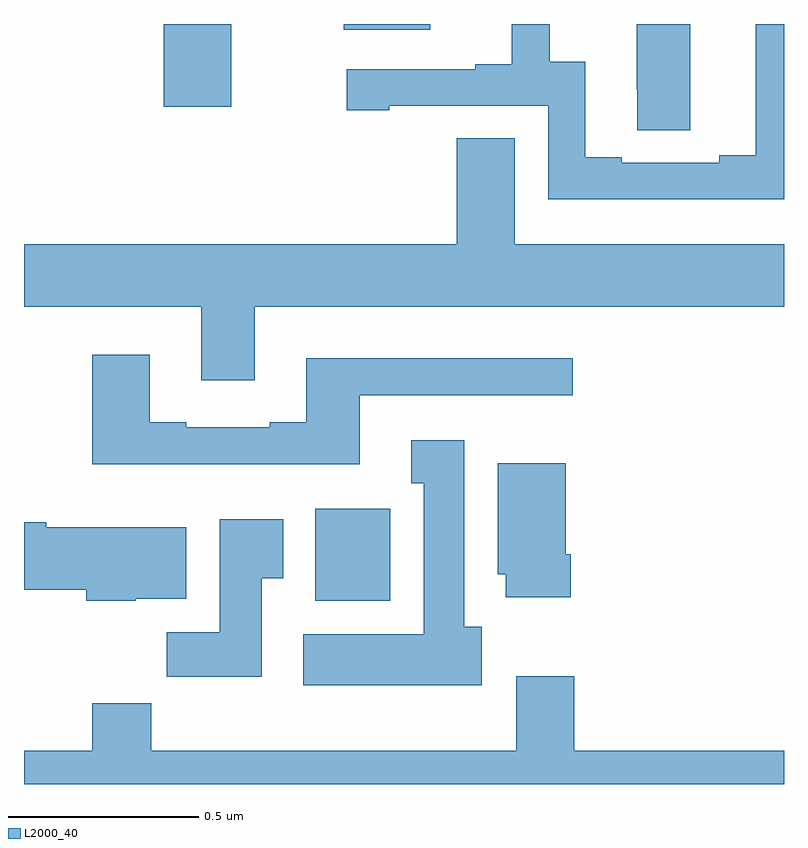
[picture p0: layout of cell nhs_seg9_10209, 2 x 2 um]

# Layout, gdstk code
import gdstk
lib = gdstk.Library(unit=1e-6, precision=1e-09)
def R(c, l, rs):  # rectangles x0, y0, x1, y1
    for r in rs: c.add(gdstk.rectangle(r[:2], r[2:], *l))
def P(c, l, *ps):  # polygons
    for p in ps: c.add(gdstk.Polygon(p, *l))
L2000_40 = (2000, 40)

nhs_seg9_10209 = lib.new_cell('nhs_seg9_10209')
R(nhs_seg9_10209, L2000_40, [(240.767,1192.982,240.964,1193.224), (240.368,1194.282,240.546,1194.5), (240.842,1194.485,241.069,1194.5)])
P(nhs_seg9_10209, L2000_40, [(241.753,1194.5),(241.613,1194.5),(241.613,1194.328),(241.614,1194.328),(241.614,1194.22),(241.753,1194.22)],
  [(242,1194.5),(241.925,1194.5),(241.925,1194.155),(241.829,1194.155),(241.829,1194.135),(241.573,1194.135),(241.573,1194.15),(241.477,1194.15),(241.477,1194.401),(241.383,1194.401),(241.383,1194.5),(241.283,1194.5),(241.283,1194.394),(241.187,1194.394),(241.187,1194.381),(240.849,1194.381),(240.849,1194.273),(240.961,1194.273),(240.961,1194.285),(241.38,1194.285),(241.38,1194.039),(242,1194.039)],
  [(240.607,1193.756),(242,1193.756),(242,1193.92),(241.291,1193.92),(241.291,1194.2),(241.139,1194.2),(241.139,1193.92),(240,1193.92),(240,1193.756),(240.467,1193.756),(240.467,1193.562),(240.607,1193.562)],
  [(240.883,1193.523),(241.444,1193.523),(241.444,1193.62),(240.743,1193.62),(240.743,1193.452),(240.647,1193.452),(240.647,1193.439),(240.427,1193.439),(240.427,1193.452),(240.331,1193.452),(240.331,1193.629),(240.179,1193.629),(240.179,1193.342),(240.883,1193.342)],
  [(241.204,1192.914),(241.159,1192.914),(241.159,1193.404),(241.019,1193.404),(241.019,1193.291),(241.052,1193.291),(241.052,1192.894),(240.735,1192.894),(240.735,1192.76),(241.204,1192.76)],
  [(241.439,1193.104),(241.426,1193.104),(241.426,1193.344),(241.247,1193.344),(241.247,1193.052),(241.268,1193.052),(241.268,1192.992),(241.439,1192.992)],
  [(240.625,1193.041),(240.682,1193.041),(240.682,1193.197),(240.515,1193.197),(240.515,1192.9),(240.376,1192.9),(240.376,1192.782),(240.625,1192.782)],
  [(240.294,1192.988),(240.427,1192.988),(240.427,1193.176),(240.058,1193.176),(240.058,1193.189),(240,1193.189),(240,1193.011),(240.164,1193.011),(240.164,1192.982),(240.294,1192.982)],
  [(242,1192.588),(241.448,1192.588),(241.448,1192.783),(241.295,1192.783),(241.295,1192.588),(240.335,1192.588),(240.335,1192.712),(240.179,1192.712),(240.179,1192.588),(240,1192.588),(240,1192.5),(242,1192.5)])

lib.write_gds('nhs_seg9_10209.gds')
